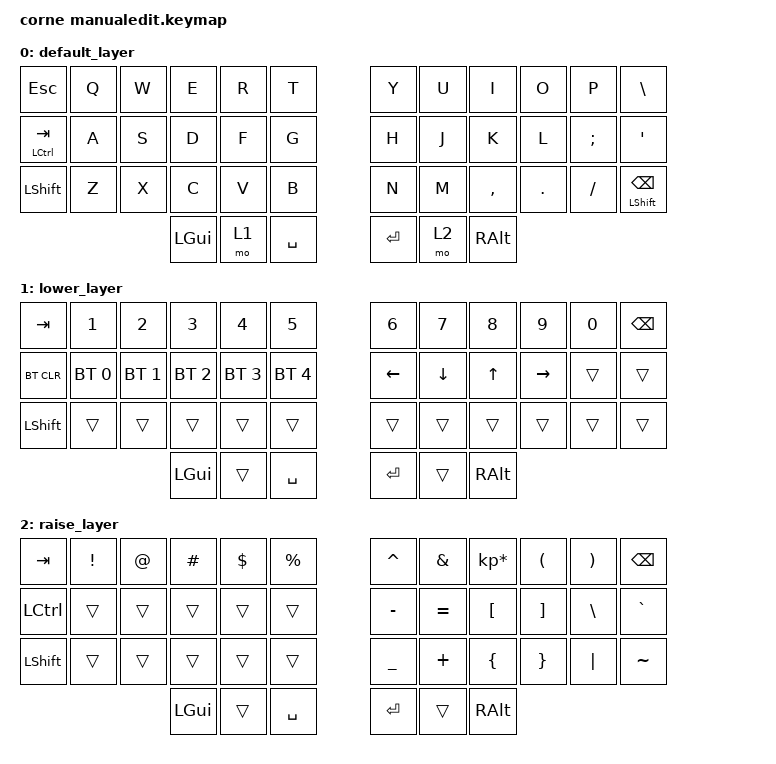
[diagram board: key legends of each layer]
/*
 * Copyright (c) 2020 The ZMK Contributors
 *
 * SPDX-License-Identifier: MIT
 */

#include <behaviors.dtsi>
#include <dt-bindings/zmk/keys.h>
#include <dt-bindings/zmk/bt.h>

/ {
        keymap {
                compatible = "zmk,keymap";

                default_layer {
// -----------------------------------------------------------------------------------------
// |  TAB |  Q  |  W  |  E  |  R  |  T  |   |  Y  |  U   |  I  |  O  |  P  | BKSP |
// | CTRL |  A  |  S  |  D  |  F  |  G  |   |  H  |  J   |  K  |  L  |  ;  |  '   |
// | SHFT |  Z  |  X  |  C  |  V  |  B  |   |  N  |  M   |  ,  |  .  |  /  | ESC  |
//                    | GUI | LWR | SPC |   | ENT | RSE  | ALT |
                        bindings = <
   &kp ESC   &kp Q &kp W &kp E &kp R &kp T   &kp Y &kp U  &kp I     &kp O   &kp P    &kp BSLH
   &mt LCTRL TAB &kp A &kp S &kp D &kp F &kp G   &kp H &kp J  &kp K     &kp L   &kp SEMI &kp SQT
   &kp LSHFT &kp Z &kp X &kp C &kp V &kp B   &kp N &kp M  &kp COMMA &kp DOT &kp FSLH &mt LSHFT BSPC 
                  &kp LGUI &mo 1 &kp SPACE   &kp RET &mo 2 &kp RALT
                        >;
                };
                lower_layer {
// -----------------------------------------------------------------------------------------
// |  TAB |  1  |  2  |  3  |  4  |  5  |   |  6  |  7  |  8  |  9  |  0  | BKSP |
// | BTCLR| BT1 | BT2 | BT3 | BT4 | BT5 |   | LFT | DWN |  UP | RGT |     |      |
// | SHFT |     |     |     |     |     |   |     |     |     |     |     |      |
//                    | GUI |     | SPC |   | ENT |     | ALT |
                        bindings = <
   &kp TAB    &kp N1       &kp N2       &kp N3       &kp N4       &kp N5         &kp N6   &kp N7   &kp N8 &kp N9    &kp N0 &kp BSPC
   &bt BT_CLR &bt BT_SEL 0 &bt BT_SEL 1 &bt BT_SEL 2 &bt BT_SEL 3 &bt BT_SEL 4   &kp LEFT &kp DOWN &kp UP &kp RIGHT &trans &trans
   &kp LSHFT  &trans       &trans       &trans       &trans       &trans         &trans   &trans   &trans &trans    &trans &trans
                                    &kp LGUI     &trans       &kp SPACE      &kp RET  &trans   &kp RALT
                        >;
                };

                raise_layer {
// -----------------------------------------------------------------------------------------
// |  TAB |  !  |  @  |  #  |  $  |  %  |   |  ^  |  &  |  *  |  (  |  )  | BKSP |
// | CTRL |     |     |     |     |     |   |  -  |  =  |  [  |  ]  |  \  |  `   |
// | SHFT |     |     |     |     |     |   |  _  |  +  |  {  |  }  | "|" |  ~   |
//                    | GUI |     | SPC |   | ENT |     | ALT |
                        bindings = <
   &kp  TAB  &kp EXCL &kp AT &kp HASH &kp DLLR &kp PRCNT   &kp CARET &kp AMPS  &kp KP_MULTIPLY &kp LPAR &kp RPAR &kp BSPC
   &kp LCTRL &trans   &trans &trans   &trans   &trans      &kp MINUS &kp EQUAL &kp LBKT        &kp RBKT &kp BSLH &kp GRAVE
   &kp LSHFT &trans   &trans &trans   &trans   &trans      &kp UNDER &kp PLUS  &kp LBRC        &kp RBRC &kp PIPE &kp TILDE
                             &kp LGUI &trans   &kp SPACE   &kp RET   &trans    &kp RALT
                        >;
                };
/*
                                lower_layer {
// -----------------------------------------------------------------------------------------
// |  TAB |  1  |  2  |  3  |  4  |  5  |   |  6  |  7  |  8  |  9  |  0  | BKSP |
// | BTCLR| BT1 | BT2 | BT3 | BT4 | BT5 |   | LFT | DWN |  UP | RGT |     |      |
// | SHFT |     |     |     |     |     |   |     |     |     |     |     |      |
//                    | GUI |     | SPC |   | ENT |     | ALT |
                        bindings = <
   &kp TAB    &kp N1       &kp N2       &kp N3       &kp N4       &kp N5         &kp N6   &kp N7   &kp N8 &kp N9    &kp N0 &kp BSPC
   &bt BT_CLR &bt BT_SEL 0 &bt BT_SEL 1 &bt BT_SEL 2 &bt BT_SEL 3 &bt BT_SEL 4   &kp LEFT &kp DOWN &kp UP &kp RIGHT &trans &trans
   &kp LSHFT  &trans       &trans       &trans       &trans       &trans         &trans   &trans   &trans &trans    &trans &trans
                                    &kp LGUI     &trans       &kp SPACE      &kp RET  &trans   &kp RALT
                        >;
                };

                raise_layer {
// -----------------------------------------------------------------------------------------
// |  TAB |  !  |  @  |  #  |  $  |  %  |   |  ^  |  &  |  *  |  (  |  )  | BKSP |
// | CTRL |     |     |     |     |     |   |  -  |  =  |  [  |  ]  |  \  |  `   |
// | SHFT |     |     |     |     |     |   |  _  |  +  |  {  |  }  | "|" |  ~   |
//                    | GUI |     | SPC |   | ENT |     | ALT |
                        bindings = <
   &kp  TAB  &kp EXCL &kp AT &kp HASH &kp DLLR &kp PRCNT   &kp CARET &kp AMPS  &kp KP_MULTIPLY &kp LPAR &kp RPAR &kp BSPC
   &kp LCTRL &trans   &trans &trans   &trans   &trans      &kp MINUS &kp EQUAL &kp LBKT        &kp RBKT &kp BSLH &kp GRAVE
   &kp LSHFT &trans   &trans &trans   &trans   &trans      &kp UNDER &kp PLUS  &kp LBRC        &kp RBRC &kp PIPE &kp TILDE
                             &kp LGUI &trans   &kp SPACE   &kp RET   &trans    &kp RALT
                        >;
                };
*/
        };
};


/*
useful things
&kp CLCK 
&kp MINUS    &kp EQUAL  &kp DEL

&kp PRINTSCREEN &kp K_APP  &kp CLCK    
&kp LBKT &kp RBKT  &kp C_MUTE
&kp LALT &kp LCTRL &kp LSHFT          
&kp ESC                  
&kp C_PLAY_PAUSE &kp C_VOL_UP
&kp K_UNDO   &kp K_CUT    &kp K_COPY   &kp K_PASTE      &kp F  &kp C_VOL_DN
&kp LSHFT &kp RSHFT &trans &kp SPACE   &tog 3

&kp GRAVE
&kp BSPC
&kp BSLH
&kp SEMI &kp SQT
&kp TAB 
&kp COMMA &kp DOT  &kp FSLH &kp RSHFT
&lt 1 ESC &kp LCTRL &kp LALT &kp LGUI  &kp SPACE    
&lt 3 SPACE &kp RET &kp RCTRL &kp RGUI  &lt 2 ESC

&mt LSHIFT A or &mt LGUI SPACE

&kp PSCRN    &kp K_CMENU
&ext_power EP_TOG
&bt BT_CLR &bt BT_SEL 0 &bt BT_SEL 1 &bt BT_SEL 2 &bt BT_SEL 3 &bt BT_SEL 4

&kp PG_UP  &kp  UP   &kp  PG_DN 
*/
